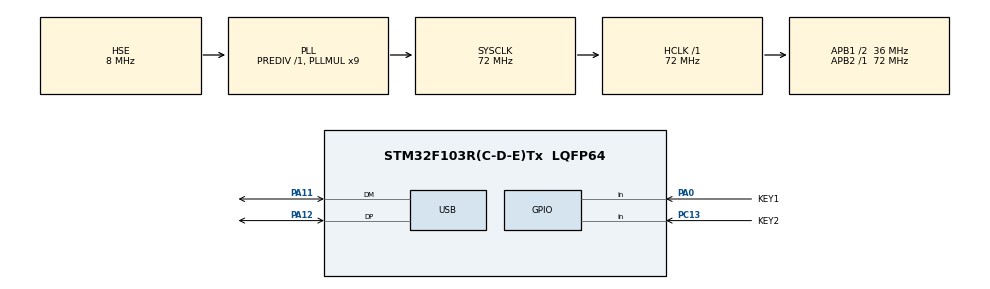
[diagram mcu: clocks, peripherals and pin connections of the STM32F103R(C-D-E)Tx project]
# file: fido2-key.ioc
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Mcu.Family=STM32F1
Mcu.Name=STM32F103R(C-D-E)Tx
Mcu.Package=LQFP64
NVIC.PriorityGroup=NVIC_PRIORITYGROUP_4
NVIC.USB_LP_CAN1_RX0_IRQn=true\:0\:0\:false\:false\:true\:false\:true\:true
PA11.Mode=Device
PA11.Signal=USB_DM
PA12.Mode=Device
PA12.Signal=USB_DP
PA13.Mode=Serial_Wire
PA13.Signal=SYS_JTMS-SWDIO
PA14.Mode=Serial_Wire
PA14.Signal=SYS_JTCK-SWCLK
PA0.GPIO_Label=KEY1
PA0.GPIO_PuPd=GPIO_PULLDOWN
PA0.Signal=GPIO_Input
PC13.GPIO_Label=KEY2
PC13.GPIO_PuPd=GPIO_PULLDOWN
PC13.Signal=GPIO_Input
PD0-OSC_IN.Mode=HSE-External-Oscillator
PD0-OSC_IN.Signal=RCC_OSC_IN
PD1-OSC_OUT.Mode=HSE-External-Oscillator
PD1-OSC_OUT.Signal=RCC_OSC_OUT
ProjectManager.HeapSize=0x200
ProjectManager.StackSize=0x400
ProjectManager.TargetToolchain=CMake
RCC.AHBFreq_Value=72000000
RCC.APB1CLKDivider=RCC_HCLK_DIV2
RCC.APB1Freq_Value=36000000
RCC.APB1TimFreq_Value=72000000
RCC.APB2Freq_Value=72000000
RCC.APB2TimFreq_Value=72000000
RCC.HCLKFreq_Value=72000000
RCC.PLLMUL=RCC_PLL_MUL9
RCC.PLLSourceVirtual=RCC_PLLSOURCE_HSE
RCC.SYSCLKFreq_VALUE=72000000
RCC.SYSCLKSource=RCC_SYSCLKSOURCE_PLLCLK
RCC.USBFreq_Value=48000000
RCC.USBPrescaler=RCC_USBCLKSOURCE_PLL_DIV1_5
USB_DEVICE.CLASS_NAME_FS=CUSTOM_HID
USB_DEVICE.USBD_CUSTOMHID_OUTREPORT_BUF_SIZE=64
USB_DEVICE.USBD_CUSTOM_HID_REPORT_DESC_SIZE=34
USB_DEVICE.USBD_SELF_POWERED=0
USB_DEVICE.VirtualMode=CustomHid
USB_DEVICE.VirtualModeFS=Custom_Hid_FS
SYS.Debug=Serial_Wire
VP_USB_DEVICE_VS_USB_DEVICE_CUSTOM_HID_FS.Mode=CUSTOM_HID_FS
board=custom

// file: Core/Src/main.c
/* USER CODE BEGIN Header */
/**
  ******************************************************************************
  * @file           : main.c
  * @brief          : Main program body
  ******************************************************************************
  * @attention
  *
  * Copyright (c) 2026 STMicroelectronics.
  * All rights reserved.
  *
  * This software is licensed under terms that can be found in the LICENSE file
  * in the root directory of this software component.
  * If no LICENSE file comes with this software, it is provided AS-IS.
  *
  ******************************************************************************
  */
/* USER CODE END Header */
#include "main.h"
#include "usb_device.h"

/* USER CODE BEGIN Includes */
#include "fido_usb.h"
#include "ctap_credential.h"
#include "board_keys.h"
#ifdef KEY_LCD_DIAGNOSTIC
#include "board_lcd.h"
#endif
#ifdef KEY_OTP_SELFTEST
#include "key_otp_selftest.h"
#endif
#ifdef KEY_SD_READONLY_DIAGNOSTIC
#include "board_sd.h"
#endif
/* USER CODE END Includes */

/* USER CODE BEGIN PV */
static ctap_credential_engine credential_engine;

/* USER CODE END PV */

void SystemClock_Config(void);
static void MX_GPIO_Init(void);

int main(void)
{

  /* MCU Configuration--------------------------------------------------------*/

  /* Reset of all peripherals, Initializes the Flash interface and the Systick. */
  HAL_Init();

  /* Configure the system clock */
  SystemClock_Config();

  /* Initialize all configured peripherals */
  MX_GPIO_Init();
  board_keys_init();
  MX_USB_DEVICE_Init();
  /* USER CODE BEGIN 2 */
  /* Backend remains NULL until trusted provisioned storage and actual physical
   * inputs exist. Never bind host RAM/test keys as production credentials. */
  ctap_credential_init(&credential_engine, NULL, NULL);
  if (!fido_usb_bind_jobs(&ctap_credential_jobs, &credential_engine)) Error_Handler();
#ifdef KEY_OTP_SELFTEST
  key_otp_selftest_run(fido_usb_poll);
#endif
#ifdef KEY_SD_READONLY_DIAGNOSTIC
  board_sd_diagnose();
#endif
#ifdef KEY_LCD_DIAGNOSTIC
  board_lcd_diagnose();
#endif
  /* USER CODE END 2 */

  /* Infinite loop */
  while (1)
  {

    /* USER CODE BEGIN 3 */
    board_keys_poll();
    fido_usb_poll();
#ifdef KEY_LCD_DIAGNOSTIC
    board_lcd_poll();
#endif
  }
  /* USER CODE END 3 */
}

void SystemClock_Config(void)
{
  RCC_OscInitTypeDef RCC_OscInitStruct = {0};
  RCC_ClkInitTypeDef RCC_ClkInitStruct = {0};
  RCC_PeriphCLKInitTypeDef PeriphClkInit = {0};

  /** Initializes the RCC Oscillators according to the specified parameters
  * in the RCC_OscInitTypeDef structure.
  */
  RCC_OscInitStruct.OscillatorType = RCC_OSCILLATORTYPE_HSE;
  RCC_OscInitStruct.HSEState = RCC_HSE_ON;
  RCC_OscInitStruct.HSEPredivValue = RCC_HSE_PREDIV_DIV1;
  RCC_OscInitStruct.HSIState = RCC_HSI_ON;
  RCC_OscInitStruct.PLL.PLLState = RCC_PLL_ON;
  RCC_OscInitStruct.PLL.PLLSource = RCC_PLLSOURCE_HSE;
  RCC_OscInitStruct.PLL.PLLMUL = RCC_PLL_MUL9;
  if (HAL_RCC_OscConfig(&RCC_OscInitStruct) != HAL_OK)
  {
    Error_Handler();
  }

  /** Initializes the CPU, AHB and APB buses clocks
  */
  RCC_ClkInitStruct.ClockType = RCC_CLOCKTYPE_HCLK|RCC_CLOCKTYPE_SYSCLK
                              |RCC_CLOCKTYPE_PCLK1|RCC_CLOCKTYPE_PCLK2;
  RCC_ClkInitStruct.SYSCLKSource = RCC_SYSCLKSOURCE_PLLCLK;
  RCC_ClkInitStruct.AHBCLKDivider = RCC_SYSCLK_DIV1;
  RCC_ClkInitStruct.APB1CLKDivider = RCC_HCLK_DIV2;
  RCC_ClkInitStruct.APB2CLKDivider = RCC_HCLK_DIV1;

  if (HAL_RCC_ClockConfig(&RCC_ClkInitStruct, FLASH_LATENCY_2) != HAL_OK)
  {
    Error_Handler();
  }
  PeriphClkInit.PeriphClockSelection = RCC_PERIPHCLK_USB;
  PeriphClkInit.UsbClockSelection = RCC_USBCLKSOURCE_PLL_DIV1_5;
  if (HAL_RCCEx_PeriphCLKConfig(&PeriphClkInit) != HAL_OK)
  {
    Error_Handler();
  }
}

static void MX_GPIO_Init(void)
{

  /* GPIO Ports Clock Enable */
  __HAL_RCC_GPIOD_CLK_ENABLE();
  __HAL_RCC_GPIOA_CLK_ENABLE();

}

void Error_Handler(void)
{
  __disable_irq();
  while (1)
  {
  }
}
